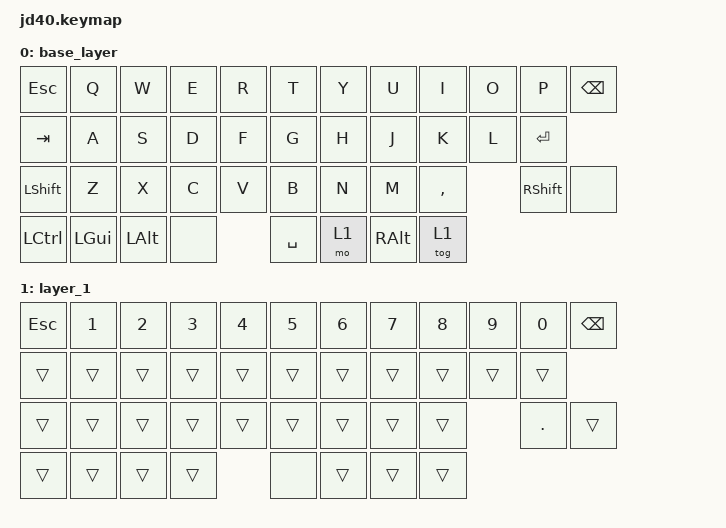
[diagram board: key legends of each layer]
#include <behaviors.dtsi>
#include <dt-bindings/zmk/keys.h>

/ {
    keymap {
        compatible = "zmk,keymap";

        base_layer {
            bindings = <
                &kp ESC  &kp Q  &kp W  &kp E  &kp R  &kp T  &kp Y  &kp U  &kp I  &kp O  &kp P  &kp BSPC
                &kp TAB  &kp A  &kp S  &kp D  &kp F  &kp G  &kp H  &kp J  &kp K  &kp L  &kp RET
                &kp LSHFT &kp Z  &kp X  &kp C  &kp V  &kp B  &kp N  &kp M  &kp COMMA  &kp RSHFT  &none
                &kp LCTRL &kp LGUI &kp LALT &none &kp SPACE &mo 1 &kp RALT &tog 1
            >;
        };

        layer_1 {
            bindings = <
                &kp ESC  &kp N1  &kp N2  &kp N3  &kp N4  &kp N5  &kp N6  &kp N7  &kp N8  &kp N9  &kp N0  &kp BSPC
                &trans   &trans &trans &trans &trans &trans &trans &trans &trans &trans &trans
                &trans   &trans &trans &trans &trans &trans &trans &trans &trans &kp DOT &trans
                &trans   &trans &trans &trans &none  &trans &trans &trans
            >;
        };
    };
};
